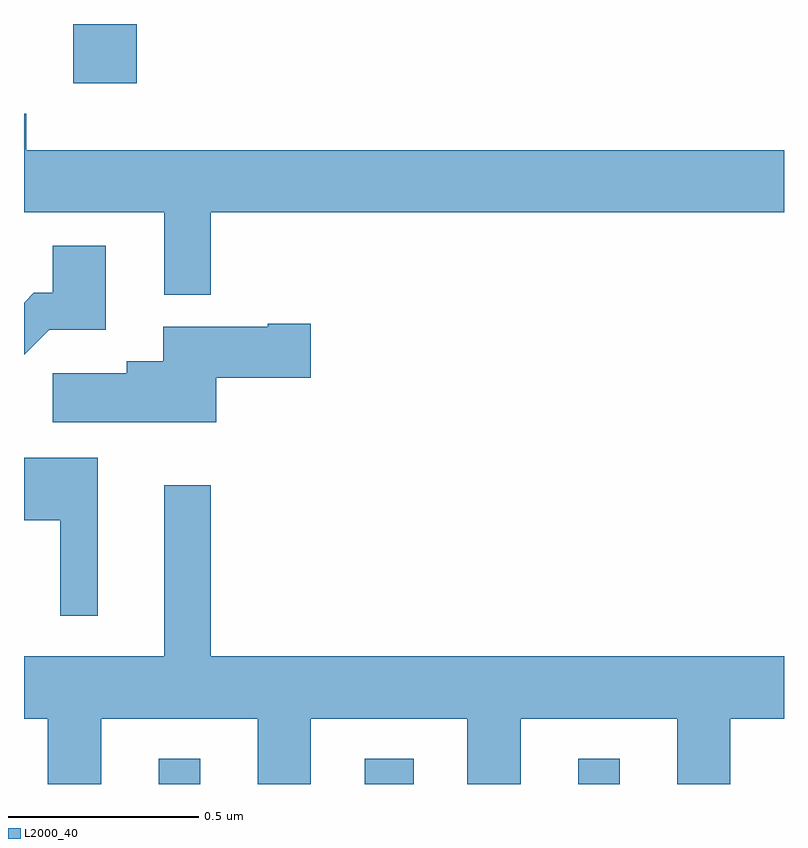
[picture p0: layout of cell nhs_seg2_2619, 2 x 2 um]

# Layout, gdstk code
import gdstk
lib = gdstk.Library(unit=1e-6, precision=1e-09)
def R(c, l, rs):  # rectangles x0, y0, x1, y1
    for r in rs: c.add(gdstk.rectangle(r[:2], r[2:], *l))
def P(c, l, *ps):  # polygons
    for p in ps: c.add(gdstk.Polygon(p, *l))
L2000_40 = (2000, 40)

nhs_seg2_2619 = lib.new_cell('nhs_seg2_2619')
R(nhs_seg2_2619, L2000_40, [(143.354,644.8,143.464,644.866), (143.897,644.8,144.025,644.866), (144.458,644.8,144.568,644.866), (143.129,646.644,143.297,646.8)])
P(nhs_seg2_2619, L2000_40, [(143.491,646.304),(145,646.304),(145,646.468),(143.006,646.468),(143.006,646.564),(143,646.564),(143,646.304),(143.369,646.304),(143.369,646.088),(143.491,646.088)],
  [(143.066,645.995),(143.215,645.995),(143.215,646.216),(143.075,646.216),(143.075,646.093),(143.026,646.093),(143,646.067),(143,645.929)],
  [(143.506,645.869),(143.755,645.869),(143.755,646.011),(143.642,646.011),(143.642,646.003),(143.366,646.003),(143.366,645.913),(143.27,645.913),(143.27,645.881),(143.076,645.881),(143.076,645.752),(143.506,645.752)],
  [(143.194,645.658),(143,645.658),(143,645.494),(143.096,645.494),(143.096,645.243),(143.194,645.243)],
  [(143.369,645.586),(143.369,645.136),(143,645.136),(143,644.972),(143.063,644.972),(143.063,644.8),(143.203,644.8),(143.203,644.972),(143.615,644.972),(143.615,644.8),(143.755,644.8),(143.755,644.972),(144.167,644.972),(144.167,644.8),(144.307,644.8),(144.307,644.972),(144.719,644.972),(144.719,644.8),(144.859,644.8),(144.859,644.972),(145,644.972),(145,645.136),(143.491,645.136),(143.491,645.586)])

lib.write_gds('nhs_seg2_2619.gds')
